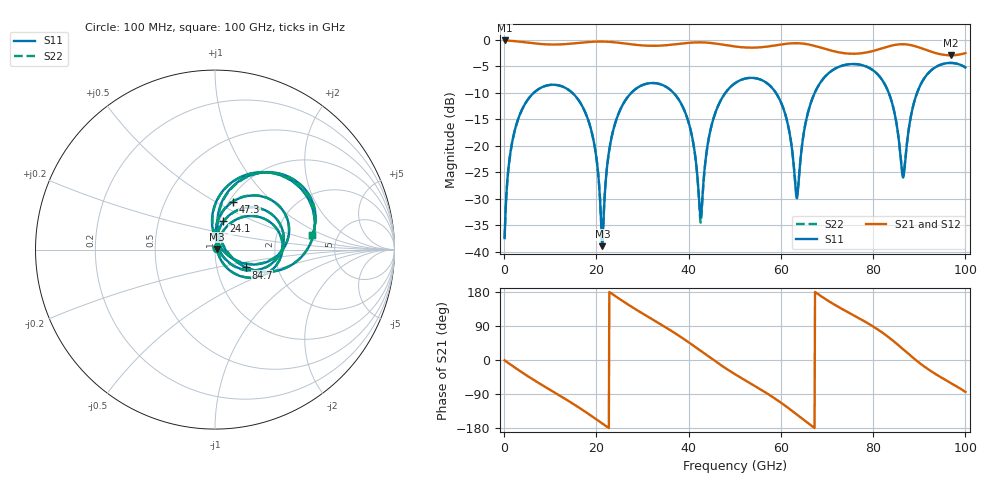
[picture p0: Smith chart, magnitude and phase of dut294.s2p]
! Touchstone file exported from HFSS 2026.1.0
!  File:  C:/ffzhzh/LocalFiles/Ansys_Project_Files/temp_train_TSV_RDL_294_1783681510_33328.aedt
!  Generated:  07:12:20 PM Jul 10, 2026
!  Design:  TSV_RDL
!  Project:  temp_train_TSV_RDL_294_1783681510_33328
! Variables:
!  h_bsmrdl = 4.82um
!  h_ox = 20um
!  h_rdl = 5um
!  h_sub = 74.08um
!  h_tmrdl = 2.32um
!  h_tsv = 74.08um
!  h_via = 3um
!  l_bsmrdl = 285.86um
!  l_sub = 2517.14um
!  l_tmrdl = 280.39um
!  m_sub = 200um
!  pitch = 47.59um
!  r_tsv = 13.96um
!  s_tmrdl = 10um
!  w_bsmrdl = 22.65um
!  w_sub = 500um
!  w_tmrdl = 23.35um
!  x_tsv_center1 = 292.065um
!  x_tsv_center2 = 600.575um
!  x_tsv_center3 = 904.315um
!  x_tsv_center4 = 1212.825um
!  x_tsv_center5 = 1516.565um
!  x_tsv_center6 = 1825.075um
# GHz S MA R 50.000000
! Terminal data exported
! Port[1] = TM_RDL1_1_T1
! Port[2] = TM_RDL5_1_T1
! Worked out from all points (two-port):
!   1000 points, 100 MHz to 100 GHz, reference 50 ohm
!   highest |S21| = -0.10 dB at 100 MHz (marker M1); lowest = -2.9 dB at 96.8 GHz (marker M2)
!   |S21| within 3 dB of the highest: start of sweep to end of sweep
!   lowest |S11| = -39.0 dB at 21.3 GHz (marker M3), VSWR 1.02, Z = 51.1 + j0.371 ohm
!   |S11| at or under -10 dB: 14.77 GHz to 27.57 GHz (12.8 GHz wide, 60.4 % of centre); 36.72 GHz to 47.97 GHz (11.25 GHz wide, 26.6 % of centre); 58.91 GHz to 67.34 GHz (8.424 GHz wide, 13.3 % of centre) (the widest 3 of 5)
!   |S22| runs from -38.0 to -4.3 dB; largest |S21 - S12| = 1.3e-13
!   S11 on the Smith chart (normalised r, x): 100 MHz: 1.02, +0.01; 24.1 GHz: 1.04, +0.34; 47.3 GHz: 1.04, +0.61; 84.7 GHz: 1.38, -0.28; 100 GHz: 3.23, +0.77
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0.1  0.01339 31.0  0.9886 -0.9  0.9886 -0.9  0.01339 31.0
! Gamma 0 0 0 0
! Port Impedance 50 0 50 0
1.7  0.1057 66.7  0.9786 -14.7  0.9786 -14.7  0.1057 66.7
4.9  0.2639 45.1  0.9454 -40.9  0.9454 -40.9  0.2638 45.1
16.8  0.2425 -40.2  0.9433 -130.2  0.9433 -130.2  0.2425 -40.0
19.5  0.1055 -58.6  0.9632 -152.4  0.9632 -152.4  0.1056 -58.0
21.3  0.01124 18.8  0.9657 -167.8  0.9657 -167.8  0.01253 18.4
24.1  0.1647 73.3  0.9485 168.6  0.9485 168.6  0.1649 72.8
33.4  0.3862 7.5  0.8816 98.2  0.8816 98.2  0.3863 7.2
39.6  0.188 -35.8  0.9353 50.1  0.9353 50.1  0.1878 -36.4
42.6  0.02097 21.3  0.9487 24.1  0.9487 24.1  0.01878 21.0
47.3  0.2855 69.4  0.9042 -16.0  0.9042 -16.0  0.2853 69.9
50.1  0.3912 49.6  0.8664 -37.8  0.8664 -37.8  0.3911 49.9
59.2  0.302 -12.8  0.8938 -105.8  0.8938 -105.8  0.3022 -12.3
63.4  0.03219 25.5  0.9317 -143.4  0.9317 -143.4  0.03461 26.2
66.7  0.2702 88.3  0.892 -174.2  0.892 -174.2  0.2704 87.9
76.7  0.5879 21.6  0.7428 111.7  0.7428 111.7  0.5879 21.6
83.4  0.3144 -23.4  0.8701 59.7  0.8701 59.7  0.3146 -23.1
84.7  0.1978 -30.1  0.897 47.0  0.897 47.0  0.1983 -29.4
86.5  0.05004 27.9  0.9114 28.2  0.9114 28.2  0.05284 27.9
90  0.3555 75.2  0.8476 -7.4  0.8476 -7.4  0.3559 74.7
96.8  0.6063 29.3  0.7158 -60.5  0.7158 -60.5  0.6061 28.9
100  0.5489 8.7  0.7505 -84.1  0.7505 -84.1  0.5485 8.2
